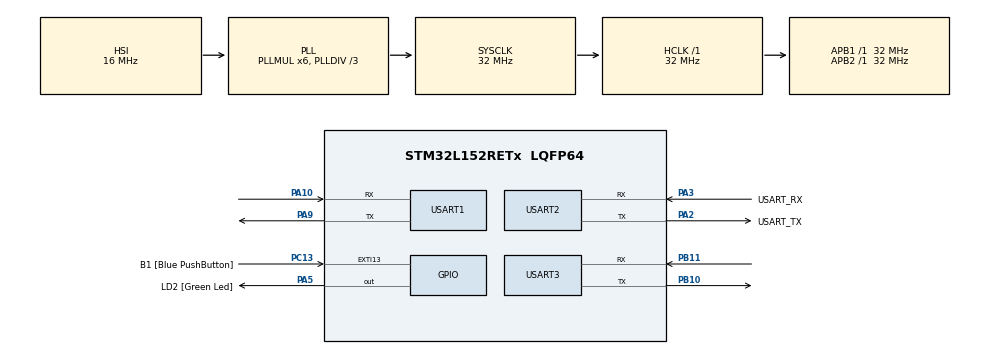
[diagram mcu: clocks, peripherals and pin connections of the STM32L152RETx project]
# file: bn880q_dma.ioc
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Dma.Request0=USART1_RX
Dma.USART1_RX.0.Direction=DMA_PERIPH_TO_MEMORY
Dma.USART1_RX.0.Instance=DMA1_Channel5
Dma.USART1_RX.0.MemDataAlignment=DMA_MDATAALIGN_BYTE
Dma.USART1_RX.0.MemInc=DMA_MINC_ENABLE
Dma.USART1_RX.0.Mode=DMA_NORMAL
Dma.USART1_RX.0.PeriphDataAlignment=DMA_PDATAALIGN_BYTE
Dma.USART1_RX.0.PeriphInc=DMA_PINC_DISABLE
Dma.USART1_RX.0.Priority=DMA_PRIORITY_LOW
Mcu.Family=STM32L1
Mcu.Name=STM32L152RETx
Mcu.Package=LQFP64
NVIC.DMA1_Channel5_IRQn=true\:0\:0\:false\:false\:true\:false\:true\:true
NVIC.PriorityGroup=NVIC_PRIORITYGROUP_0
NVIC.USART1_IRQn=true\:0\:0\:false\:false\:true\:true\:true\:true
NVIC.USART3_IRQn=true\:0\:0\:false\:false\:true\:true\:true\:true
PA10.Mode=Asynchronous
PA10.Signal=USART1_RX
PA13.GPIO_Label=TMS
PA13.Mode=Serial_Wire
PA13.Signal=SYS_JTMS-SWDIO
PA14.GPIO_Label=TCK
PA14.Mode=Serial_Wire
PA14.Signal=SYS_JTCK-SWCLK
PA2.GPIO_Label=USART_TX
PA2.Mode=Asynchronous
PA2.Signal=USART2_TX
PA3.GPIO_Label=USART_RX
PA3.Mode=Asynchronous
PA3.Signal=USART2_RX
PA5.GPIO_Label=LD2 [Green Led]
PA5.Signal=GPIO_Output
PA9.Mode=Asynchronous
PA9.Signal=USART1_TX
PB10.Mode=Asynchronous
PB10.Signal=USART3_TX
PB11.Mode=Asynchronous
PB11.Signal=USART3_RX
PB3.GPIO_Label=SWO
PB3.Signal=SYS_JTDO-TRACESWO
PC13-WKUP2.GPIO_Label=B1 [Blue PushButton]
PC13-WKUP2.Signal=GPXTI13
PC14-OSC32_IN.Mode=LSE-External-Oscillator
PC14-OSC32_IN.Signal=RCC_OSC32_IN
PC15-OSC32_OUT.Mode=LSE-External-Oscillator
PC15-OSC32_OUT.Signal=RCC_OSC32_OUT
PH0-OSC_IN.Mode=HSE-External-Clock-Source
PH0-OSC_IN.Signal=RCC_OSC_IN
PH1-OSC_OUT.Signal=RCC_OSC_OUT
ProjectManager.HeapSize=0x200
ProjectManager.StackSize=0x400
ProjectManager.TargetToolchain=STM32CubeIDE
RCC.48MHZClocksFreq_Value=48000000
RCC.AHBFreq_Value=32000000
RCC.APB1Freq_Value=32000000
RCC.APB1TimFreq_Value=32000000
RCC.APB2Freq_Value=32000000
RCC.APB2TimFreq_Value=32000000
RCC.HCLKFreq_Value=32000000
RCC.HSE_VALUE=8000000
RCC.HSI_VALUE=16000000
RCC.MSI_VALUE=2097000
RCC.PLLDIV=RCC_PLL_DIV3
RCC.PLLMUL=RCC_PLL_MUL6
RCC.RTCClockSelectionVirtual=RCC_RTCCLKSOURCE_LSE
RCC.SYSCLKFreq_VALUE=32000000
RCC.SYSCLKSource=RCC_SYSCLKSOURCE_PLLCLK
RCC.USBOutput=48000000
RCC.VCOOutputFreq_Value=96000000
USART1.VirtualMode=VM_ASYNC
USART2.VirtualMode=VM_ASYNC
USART3.VirtualMode=VM_ASYNC
board=NUCLEO-L152RE

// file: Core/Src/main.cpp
/* USER CODE BEGIN Header */
/**
  ******************************************************************************
  * @file           : main.c
  * @brief          : Main program body
  ******************************************************************************
  * @attention
  *
  * Copyright (c) 2025 STMicroelectronics.
  * All rights reserved.
  *
  * This software is licensed under terms that can be found in the LICENSE file
  * in the root directory of this software component.
  * If no LICENSE file comes with this software, it is provided AS-IS.
  *
  ******************************************************************************
  */
/* USER CODE END Header */
#include "main.h"
#include "dma.h"
#include "usart.h"
#include "gpio.h"

/* USER CODE BEGIN Includes */
#include <cstring>
#include <string>
#include <vector>
/* USER CODE END Includes */
char gpsData[500];
uint8_t cnt1=0;
uint8_t cnt2=0;
/* USER CODE BEGIN PTD */
using namespace std;
/* USER CODE END PTD */

/* USER CODE BEGIN PD */
void HAL_UART_RxCpltCallback(UART_HandleTypeDef *huart){
	if(huart->Instance==USART1){
		const char* startPos = gpsData;
		const char* endPos = nullptr;
		vector<string> gps;
		for(int i=0; i<8; i++){
			startPos = strchr(startPos, '$');
			endPos = strchr(startPos, '\n');

			size_t length = endPos - startPos + 1;
			char splitData[length + 1];
			strncpy(splitData, startPos, length);
			splitData[length] = '\0';

			string strData(splitData);
			gps.push_back(strData);

			startPos = endPos + 1;
		}
		for(size_t i=0; i<gps.size(); i++){
			gps[i].insert(0, to_string(i+1) + " : ");
			HAL_UART_Transmit(&huart3, (uint8_t*)gps[i].c_str(), gps[i].size(), HAL_MAX_DELAY);
		}
		gps.clear();
		memset(gpsData, 0, sizeof(gpsData));
		HAL_UART_Receive_DMA(&huart1, (uint8_t*)gpsData, 500);
	}
}
/* USER CODE END PD */

void SystemClock_Config(void);

int main(void)
{

  /* MCU Configuration--------------------------------------------------------*/

  /* Reset of all peripherals, Initializes the Flash interface and the Systick. */
  HAL_Init();

  /* Configure the system clock */
  SystemClock_Config();

  /* Initialize all configured peripherals */
  MX_GPIO_Init();
  MX_DMA_Init();
  MX_USART2_UART_Init();
  MX_USART1_UART_Init();
  MX_USART3_UART_Init();
  /* USER CODE BEGIN 2 */
  HAL_UART_Receive_DMA(&huart1, (uint8_t*)gpsData, 500);
  /* USER CODE END 2 */

  /* Infinite loop */
  while (1)
  {

  }
}

void SystemClock_Config(void)
{
  RCC_OscInitTypeDef RCC_OscInitStruct = {0};
  RCC_ClkInitTypeDef RCC_ClkInitStruct = {0};

  /** Configure the main internal regulator output voltage
  */
  __HAL_PWR_VOLTAGESCALING_CONFIG(PWR_REGULATOR_VOLTAGE_SCALE1);

  /** Initializes the RCC Oscillators according to the specified parameters
  * in the RCC_OscInitTypeDef structure.
  */
  RCC_OscInitStruct.OscillatorType = RCC_OSCILLATORTYPE_HSI;
  RCC_OscInitStruct.HSIState = RCC_HSI_ON;
  RCC_OscInitStruct.HSICalibrationValue = RCC_HSICALIBRATION_DEFAULT;
  RCC_OscInitStruct.PLL.PLLState = RCC_PLL_ON;
  RCC_OscInitStruct.PLL.PLLSource = RCC_PLLSOURCE_HSI;
  RCC_OscInitStruct.PLL.PLLMUL = RCC_PLL_MUL6;
  RCC_OscInitStruct.PLL.PLLDIV = RCC_PLL_DIV3;
  if (HAL_RCC_OscConfig(&RCC_OscInitStruct) != HAL_OK)
  {
    Error_Handler();
  }

  /** Initializes the CPU, AHB and APB buses clocks
  */
  RCC_ClkInitStruct.ClockType = RCC_CLOCKTYPE_HCLK|RCC_CLOCKTYPE_SYSCLK
                              |RCC_CLOCKTYPE_PCLK1|RCC_CLOCKTYPE_PCLK2;
  RCC_ClkInitStruct.SYSCLKSource = RCC_SYSCLKSOURCE_PLLCLK;
  RCC_ClkInitStruct.AHBCLKDivider = RCC_SYSCLK_DIV1;
  RCC_ClkInitStruct.APB1CLKDivider = RCC_HCLK_DIV1;
  RCC_ClkInitStruct.APB2CLKDivider = RCC_HCLK_DIV1;

  if (HAL_RCC_ClockConfig(&RCC_ClkInitStruct, FLASH_LATENCY_1) != HAL_OK)
  {
    Error_Handler();
  }
}

void Error_Handler(void)
{
  __disable_irq();
  while (1)
  {
  }
}
